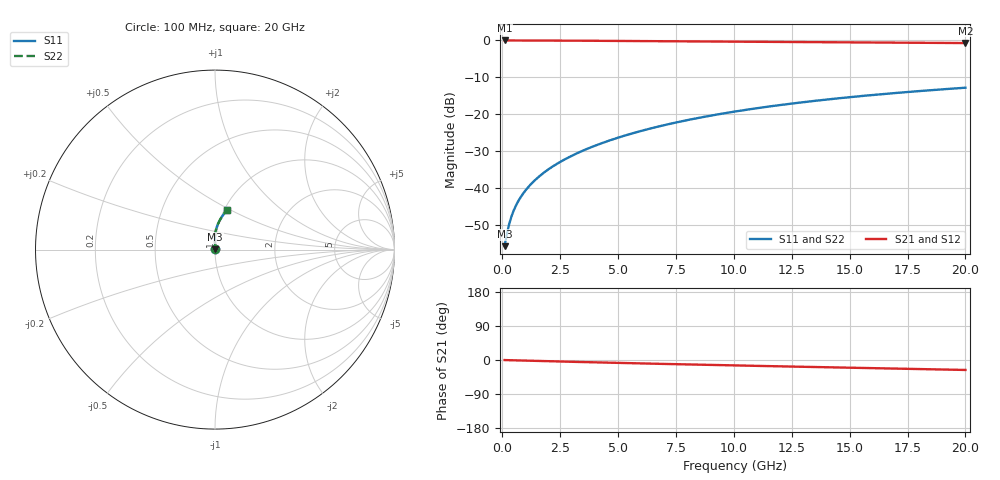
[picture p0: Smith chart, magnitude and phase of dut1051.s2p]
! Touchstone file exported from HFSS 2024.1.0
!  File:  C:/UserFiles/LocalFiles/RDL_TSV_Batchsim/temp_RDL_bottom_1051_1780051928.aedt
!  Generated:  06:54:48 PM May 29, 2026
!  Design:  RDL_bottom
!  Project:  temp_RDL_bottom_1051_1780051928
!  Setup:  Setup1
!  Solution:  Sweep
! Variables:
!  dtsv = 10.80580581um
!  hbump = 3um
!  htsv = 60.02um
!  ldown = 385.79um
!  lrdl = 100um
!  p = 40
!  p1 = 49.05um
!  rhole = 1um
!  t = 450um
!  tdown = 4.71um
!  trdl = 3.915915916um
!  wdown = 26.24um
!  wrdl = 20um
# GHz S MA R 50.000000
! Terminal data exported
! Port[1] = RDL1_T1
! Port[2] = RDL1_T2
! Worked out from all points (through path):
!   200 points, 100 MHz to 20 GHz, reference 50 ohm
!   highest |S21| = -0.01 dB at 100 MHz (marker M1); lowest = -0.7 dB at 20 GHz (marker M2)
!   group delay of S21, straight-line fit = 3.59 ps
!   lowest |S11| = -55.6 dB at 100 MHz (marker M3), VSWR 1.00, Z = 50.1 + j0.103 ohm
!   |S11| at or under -10 dB: start of sweep to end of sweep
!   |S22| runs from -55.6 to -12.8 dB; largest |S21 - S12| = 3.1e-15
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0.1  0.001656 38.2  0.9987 -0.2  0.9987 -0.2  0.001656 38.2
! Gamma 0 0 0 0
! Port Impedance 50 0 50 0
0.2  0.002439 56.2  0.9986 -0.3  0.9986 -0.3  0.002439 56.2
0.3  0.003319 64.5  0.9984 -0.5  0.9984 -0.5  0.003319 64.5
0.4  0.004208 69.1  0.9983 -0.7  0.9983 -0.7  0.004208 69.0
0.5  0.005085 72.1  0.9982 -0.8  0.9982 -0.8  0.005085 72.0
0.7  0.006807 76.0  0.998 -1.1  0.998 -1.1  0.006806 76.0
1  0.009365 79.9  0.9976 -1.6  0.9976 -1.6  0.009363 79.9
1.4  0.01282 83.3  0.9969 -2.2  0.9969 -2.2  0.01282 83.3
1.7  0.01546 85.1  0.9963 -2.7  0.9963 -2.7  0.01546 85.1
2  0.01816 86.5  0.9956 -3.2  0.9956 -3.2  0.01816 86.5
2.7  0.02468 88.8  0.9935 -4.3  0.9935 -4.3  0.02468 88.8
3.5  0.03255 90.3  0.9906 -5.5  0.9906 -5.5  0.03255 90.4
4.2  0.0398 91.1  0.9878 -6.5  0.9878 -6.5  0.0398 91.1
5  0.04847 91.4  0.9843 -7.6  0.9843 -7.6  0.04848 91.4
5.9  0.05868 91.3  0.9803 -8.9  0.9803 -8.9  0.05868 91.3
6.8  0.06927 90.8  0.9761 -10.1  0.9761 -10.1  0.06928 90.8
8.4  0.08876 89.3  0.9688 -12.2  0.9688 -12.2  0.08877 89.4
10.1  0.11 87.2  0.9613 -14.4  0.9613 -14.4  0.11 87.2
11.7  0.1301 85.0  0.9545 -16.4  0.9545 -16.4  0.1301 85.0
13.4  0.1512 82.5  0.9474 -18.5  0.9474 -18.5  0.1513 82.5
16.7  0.1913 77.6  0.934 -22.4  0.934 -22.4  0.1913 77.6
20  0.2294 72.9  0.9208 -26.3  0.9208 -26.3  0.2294 72.9
